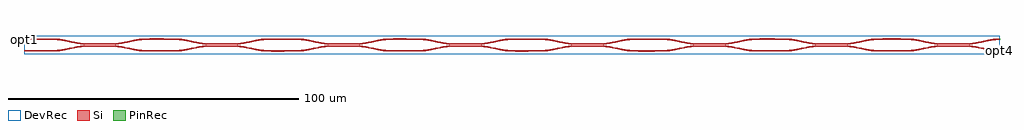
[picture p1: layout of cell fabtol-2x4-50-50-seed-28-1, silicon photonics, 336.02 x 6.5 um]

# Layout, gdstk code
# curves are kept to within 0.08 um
import gdstk
lib = gdstk.Library(unit=1e-6, precision=1e-09)
def R(c, l, rs):  # rectangles x0, y0, x1, y1
    for r in rs: c.add(gdstk.rectangle(r[:2], r[2:], *l))
def P(c, l, *ps):  # polygons
    for p in ps: c.add(gdstk.Polygon(p, *l))
Si = (1, 0)
PinRec = (1, 10)
DevRec = (68, 0)

layer_0_0_phase_sec_0_13 = lib.new_cell('layer-0_0_phase_sec_0$13')
P(layer_0_0_phase_sec_0_13, Si, [(2.368,-0.229),(0,-0.225),(0,0.225),(10,0.225),(10,-0.225)])

layer_3_0_phase_sec_1_13 = lib.new_cell('layer-3_0_phase_sec_1$13')
P(layer_3_0_phase_sec_1_13, Si, [(3.63,-0.23),(0,-0.225),(0,0.225),(10,0.225),(10,-0.225)])

layer_1_0_phase_sec_2_13 = lib.new_cell('layer-1_0_phase_sec_2$13')
P(layer_1_0_phase_sec_2_13, Si, [(4.483,-0.248),(0,-0.225),(0,0.225),(10,0.225),(10,-0.225)])

layer_0_0_phase_sec_1_13 = lib.new_cell('layer-0_0_phase_sec_1$13')
P(layer_0_0_phase_sec_1_13, Si, [(2.557,-0.229),(0,-0.225),(0,0.225),(10,0.225),(10,-0.225)])

layer_3_0_phase_sec_2_13 = lib.new_cell('layer-3_0_phase_sec_2$13')
P(layer_3_0_phase_sec_2_13, Si, [(4.68,-0.248),(0,-0.225),(0,0.225),(10,0.225),(10,-0.225)])

layer_0_0_phase_sec_3_13 = lib.new_cell('layer-0_0_phase_sec_3$13')
P(layer_0_0_phase_sec_3_13, Si, [(3.447,-0.226),(0,-0.225),(0,0.225),(10,0.225),(10,-0.225)])

dc_arm_down_13 = lib.new_cell('dc_arm_down$13')
R(dc_arm_down_13, Si, [(12,-0.55,20,-0.1)])
P(dc_arm_down_13, Si, [(32,-2.225),(30.861,-2.188),(29.344,-2.033),(22.966,-0.793),(21.481,-0.613),(20,-0.55),(20,-0.1),(21.139,-0.137),(22.656,-0.292),(29.034,-1.532),(30.519,-1.712),(32,-1.775)],
  [(0,-2.225),(0,-1.775),(1.481,-1.712),(2.966,-1.532),(9.344,-0.292),(10.861,-0.137),(12,-0.1),(12,-0.55),(10.519,-0.613),(9.034,-0.793),(2.656,-2.033),(1.139,-2.188)])

dc_arm_up_13 = lib.new_cell('dc_arm_up$13')
R(dc_arm_up_13, Si, [(12,0.1,20,0.55)])
P(dc_arm_up_13, Si, [(20,0.1),(20,0.55),(21.481,0.613),(22.966,0.793),(29.344,2.033),(30.861,2.188),(32,2.225),(32,1.775),(30.519,1.712),(29.034,1.532),(22.656,0.292),(21.139,0.137)],
  [(12,0.1),(10.861,0.137),(9.344,0.292),(2.966,1.532),(1.481,1.712),(0,1.775),(0,2.225),(1.139,2.188),(2.656,2.033),(9.034,0.793),(10.519,0.613),(12,0.55)])

dc_13 = lib.new_cell('dc$13')
dc_13.add(gdstk.Reference(dc_arm_down_13, (0,0)))
dc_13.add(gdstk.Reference(dc_arm_up_13, (0,0)))

layer_0_0_phase_sec_2_13 = lib.new_cell('layer-0_0_phase_sec_2$13')
P(layer_0_0_phase_sec_2_13, Si, [(3.712,-0.254),(0,-0.225),(0,0.225),(10,0.225),(10,-0.225)])

layer_1_0_phase_sec_1_13 = lib.new_cell('layer-1_0_phase_sec_1$13')
P(layer_1_0_phase_sec_1_13, Si, [(3.351,-0.239),(0,-0.225),(0,0.225),(10,0.225),(10,-0.225)])

layer_1_0_phase_sec_3_13 = lib.new_cell('layer-1_0_phase_sec_3$13')
P(layer_1_0_phase_sec_3_13, Si, [(6.107,-0.231),(0,-0.225),(0,0.225),(10,0.225),(10,-0.225)])

layer_3_0_phase_sec_3_13 = lib.new_cell('layer-3_0_phase_sec_3$13')
P(layer_3_0_phase_sec_3_13, Si, [(1.048,-0.231),(0,-0.225),(0,0.225),(10,0.225),(10,-0.225)])

layer_2_0_phase_sec_0_13 = lib.new_cell('layer-2_0_phase_sec_0$13')
P(layer_2_0_phase_sec_0_13, Si, [(1.422,-0.237),(0,-0.225),(0,0.225),(10,0.225),(10,-0.225)])

layer_3_0_phase_sec_0_13 = lib.new_cell('layer-3_0_phase_sec_0$13')
P(layer_3_0_phase_sec_0_13, Si, [(1.295,-0.248),(0,-0.225),(0,0.225),(10,0.225),(10,-0.225)])

layer_2_0_phase_sec_1_13 = lib.new_cell('layer-2_0_phase_sec_1$13')
P(layer_2_0_phase_sec_1_13, Si, [(1.131,-0.241),(0,-0.225),(0,0.225),(10,0.225),(10,-0.225)])

layer_2_0_phase_sec_2_13 = lib.new_cell('layer-2_0_phase_sec_2$13')
P(layer_2_0_phase_sec_2_13, Si, [(4.556,-0.23),(0,-0.225),(0,0.225),(10,0.225),(10,-0.225)])

layer_1_0_phase_sec_0_13 = lib.new_cell('layer-1_0_phase_sec_0$13')
P(layer_1_0_phase_sec_0_13, Si, [(1.158,-0.236),(0,-0.225),(0,0.225),(10,0.225),(10,-0.225)])

layer_2_0_phase_sec_3_13 = lib.new_cell('layer-2_0_phase_sec_3$13')
P(layer_2_0_phase_sec_3_13, Si, [(2.881,-0.249),(0,-0.225),(0,0.225),(10,0.225),(10,-0.225)])

fabtol_2x4_50_50_seed_28 = lib.new_cell('fabtol-2x4-50-50-seed-28-1')
R(fabtol_2x4_50_50_seed_28, DevRec, [(0,-1,336,5.503)])
fabtol_2x4_50_50_seed_28.add(gdstk.FlexPath([(335.99,0.249),(336.01,0.249)], 0.45, ends="flush", simple_path=True, layer=1, datatype=10))  # PinRec
fabtol_2x4_50_50_seed_28.add(gdstk.FlexPath([(335.99,4.249),(336.01,4.249)], 0.45, ends="flush", simple_path=True, layer=1, datatype=10))  # PinRec
fabtol_2x4_50_50_seed_28.add(gdstk.FlexPath([(0.01,4.249),(-0.01,4.249)], 0.45, ends="flush", simple_path=True, layer=1, datatype=10))  # PinRec
fabtol_2x4_50_50_seed_28.add(gdstk.Reference(layer_0_0_phase_sec_0_13, (0,4.249)))
fabtol_2x4_50_50_seed_28.add(gdstk.Reference(layer_3_0_phase_sec_1_13, (252,0.249)))
fabtol_2x4_50_50_seed_28.add(gdstk.Reference(layer_1_0_phase_sec_2_13, (126,4.249)))
fabtol_2x4_50_50_seed_28.add(gdstk.Reference(layer_0_0_phase_sec_1_13, (0,0.249)))
fabtol_2x4_50_50_seed_28.add(gdstk.Reference(layer_3_0_phase_sec_2_13, (294,4.249)))
fabtol_2x4_50_50_seed_28.add(gdstk.Reference(layer_0_0_phase_sec_3_13, (42,0.249)))
fabtol_2x4_50_50_seed_28.add(gdstk.Reference(dc_13, (10,2.249)))
fabtol_2x4_50_50_seed_28.add(gdstk.Reference(dc_13, (52,2.249)))
fabtol_2x4_50_50_seed_28.add(gdstk.Reference(dc_13, (94,2.249)))
fabtol_2x4_50_50_seed_28.add(gdstk.Reference(dc_13, (136,2.249)))
fabtol_2x4_50_50_seed_28.add(gdstk.Reference(dc_13, (178,2.249)))
fabtol_2x4_50_50_seed_28.add(gdstk.Reference(dc_13, (220,2.249)))
fabtol_2x4_50_50_seed_28.add(gdstk.Reference(dc_13, (262,2.249)))
fabtol_2x4_50_50_seed_28.add(gdstk.Reference(dc_13, (304,2.249)))
fabtol_2x4_50_50_seed_28.add(gdstk.Reference(layer_0_0_phase_sec_2_13, (42,4.249)))
fabtol_2x4_50_50_seed_28.add(gdstk.Reference(layer_1_0_phase_sec_1_13, (84,0.249)))
fabtol_2x4_50_50_seed_28.add(gdstk.Reference(layer_1_0_phase_sec_3_13, (126,0.249)))
fabtol_2x4_50_50_seed_28.add(gdstk.Reference(layer_3_0_phase_sec_3_13, (294,0.249)))
fabtol_2x4_50_50_seed_28.add(gdstk.Reference(layer_2_0_phase_sec_0_13, (168,4.249)))
fabtol_2x4_50_50_seed_28.add(gdstk.Reference(layer_3_0_phase_sec_0_13, (252,4.249)))
fabtol_2x4_50_50_seed_28.add(gdstk.Reference(layer_2_0_phase_sec_1_13, (168,0.249)))
fabtol_2x4_50_50_seed_28.add(gdstk.Reference(layer_2_0_phase_sec_2_13, (210,4.249)))
fabtol_2x4_50_50_seed_28.add(gdstk.Reference(layer_1_0_phase_sec_0_13, (84,4.249)))
fabtol_2x4_50_50_seed_28.add(gdstk.Reference(layer_2_0_phase_sec_3_13, (210,0.249)))
fabtol_2x4_50_50_seed_28.add(gdstk.Label('opt4', (336,0.249), layer=1, texttype=10))
fabtol_2x4_50_50_seed_28.add(gdstk.Label('opt3', (336,4.249), layer=1, texttype=10))
fabtol_2x4_50_50_seed_28.add(gdstk.Label('opt1', (0,4.249), layer=1, texttype=10))

lib.write_gds('fabtol-2x4-50-50-seed-28-1.gds')
